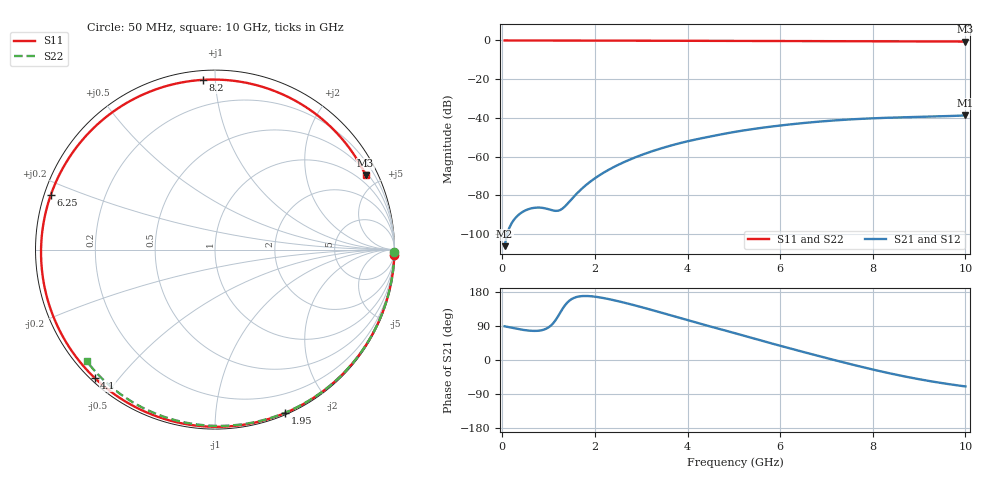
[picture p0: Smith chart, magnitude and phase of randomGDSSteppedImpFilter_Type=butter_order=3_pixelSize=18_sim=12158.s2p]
! freq	dB(S11)	phase(S11)	dB(S12)	phase(S12)
!  dB(S21)	phase(S21)	dB(S22)	phase(S22)
!S-par simulation data
#  GHz  S  DB  R 50
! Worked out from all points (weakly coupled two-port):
!   200 points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, 50 MHz to 10 GHz, reference 50 ohm
!   highest |S21| = -38.71 dB at 10 GHz (marker M1); lowest = -106.2 dB at 50 MHz (marker M2)
!   lowest |S11| = -0.6 dB at 10 GHz (marker M3), VSWR 30.28, Z = 31.3 + j210 ohm
!   |S11| at or under -10 dB: nowhere
!   |S22| runs from -0.5 to 0.0 dB; largest |S21 - S12| = 0
!   S11 on the Smith chart (normalised r, x): 50 MHz: 1, -64; 1.95 GHz: 0.02, -1.52; 4.1 GHz: 0.01, -0.43; 6.25 GHz: 0.02, +0.16; 8.2 GHz: 0.05, +0.93; 10 GHz: 0.63, +4.19
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0.05  -0.00 -1.8  -106.19 88.9  -106.19 88.9  -0.00 -0.8
0.75  -0.03 -26.3  -86.27 76.9  -86.27 76.9  -0.01 -12.0
1.55  -0.07 -53.5  -80.51 164.0  -80.51 164.0  -0.03 -24.6
1.75  -0.08 -60.1  -75.82 168.9  -75.82 168.9  -0.04 -27.7
1.95  -0.08 -66.7  -72.00 167.9  -72.00 167.9  -0.04 -30.8
2.25  -0.09 -76.4  -67.39 161.9  -67.39 161.9  -0.05 -35.4
2.6  -0.11 -87.5  -63.11 152.3  -63.11 152.3  -0.05 -40.8
3  -0.12 -100.0  -59.17 139.7  -59.17 139.7  -0.06 -46.8
3.4  -0.14 -112.2  -55.93 126.2  -55.93 126.2  -0.07 -52.7
4.1  -0.18 -133.2  -51.51 101.6  -51.51 101.6  -0.09 -62.9
4.6  -0.20 -148.1  -49.06 85.0  -49.06 85.0  -0.10 -69.9
5.05  -0.23 -161.5  -47.08 69.8  -47.08 69.8  -0.12 -76.2
5.65  -0.27 -179.7  -44.94 49.3  -44.94 49.3  -0.14 -84.3
6.25  -0.32 161.5  -43.24 29.4  -43.24 29.4  -0.17 -92.3
6.7  -0.35 146.9  -42.19 14.8  -42.19 14.8  -0.19 -98.1
7.5  -0.41 119.5  -40.78 -10.4  -40.78 -10.4  -0.24 -108.3
8.2  -0.46 94.1  -40.00 -30.7  -40.00 -30.7  -0.29 -117.0
8.35  -0.47 88.5  -39.88 -34.8  -39.88 -34.8  -0.30 -118.8
8.7  -0.49 75.3  -39.63 -43.7  -39.63 -43.7  -0.34 -123.1
9.1  -0.52 60.1  -39.39 -52.9  -39.39 -52.9  -0.37 -128.0
9.55  -0.54 43.0  -39.10 -62.0  -39.10 -62.0  -0.42 -133.5
10  -0.57 26.3  -38.71 -69.8  -38.71 -69.8  -0.47 -138.9
